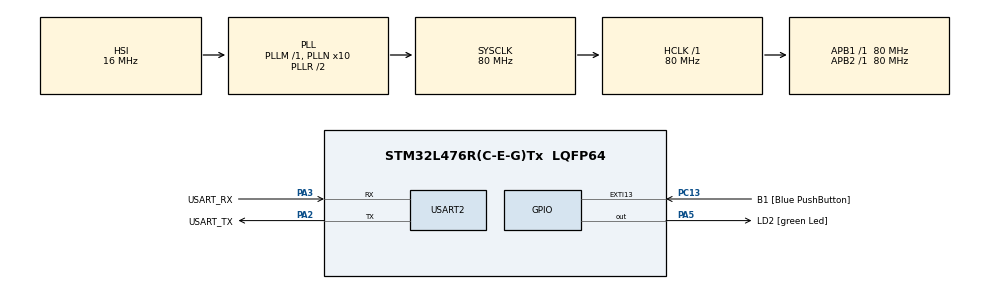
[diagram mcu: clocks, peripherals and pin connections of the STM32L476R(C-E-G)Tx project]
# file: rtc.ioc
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Mcu.Family=STM32L4
Mcu.Name=STM32L476R(C-E-G)Tx
Mcu.Package=LQFP64
NVIC.PriorityGroup=NVIC_PRIORITYGROUP_4
PA13\ (JTMS-SWDIO).GPIO_Label=TMS
PA13\ (JTMS-SWDIO).Mode=Serial_Wire
PA13\ (JTMS-SWDIO).Signal=SYS_JTMS-SWDIO
PA14\ (JTCK-SWCLK).GPIO_Label=TCK
PA14\ (JTCK-SWCLK).Mode=Serial_Wire
PA14\ (JTCK-SWCLK).Signal=SYS_JTCK-SWCLK
PA2.GPIO_Label=USART_TX
PA2.GPIO_Mode=GPIO_MODE_AF_PP
PA2.GPIO_PuPd=GPIO_NOPULL
PA2.GPIO_Speed=GPIO_SPEED_FREQ_VERY_HIGH
PA2.Mode=Asynchronous
PA2.Signal=USART2_TX
PA3.GPIO_Label=USART_RX
PA3.GPIO_Mode=GPIO_MODE_AF_PP
PA3.GPIO_PuPd=GPIO_NOPULL
PA3.GPIO_Speed=GPIO_SPEED_FREQ_VERY_HIGH
PA3.Mode=Asynchronous
PA3.Signal=USART2_RX
PA5.GPIO_Label=LD2 [green Led]
PA5.GPIO_ModeDefaultOutputPP=GPIO_MODE_OUTPUT_PP
PA5.GPIO_PuPd=GPIO_NOPULL
PA5.GPIO_Speed=GPIO_SPEED_FREQ_LOW
PA5.Signal=GPIO_Output
PB3\ (JTDO-TRACESWO).GPIO_Label=SWO
PB3\ (JTDO-TRACESWO).Signal=SYS_JTDO-SWO
PC13.GPIO_Label=B1 [Blue PushButton]
PC13.GPIO_ModeDefaultEXTI=GPIO_MODE_IT_FALLING
PC13.GPIO_PuPd=GPIO_NOPULL
PC13.Signal=GPXTI13
PC14-OSC32_IN\ (PC14).Mode=LSE-External-Oscillator
PC14-OSC32_IN\ (PC14).Signal=RCC_OSC32_IN
PC15-OSC32_OUT\ (PC15).Mode=LSE-External-Oscillator
PC15-OSC32_OUT\ (PC15).Signal=RCC_OSC32_OUT
PH0-OSC_IN\ (PH0).Signal=RCC_OSC_IN
PH1-OSC_OUT\ (PH1).Signal=RCC_OSC_OUT
ProjectManager.HeapSize=0x200
ProjectManager.StackSize=0x400
ProjectManager.TargetToolchain=CMake
RCC.ADCFreq_Value=64000000
RCC.AHBFreq_Value=80000000
RCC.APB1Freq_Value=80000000
RCC.APB1TimFreq_Value=80000000
RCC.APB2Freq_Value=80000000
RCC.APB2TimFreq_Value=80000000
RCC.CortexFreq_Value=80000000
RCC.HCLKFreq_Value=80000000
RCC.HSE_VALUE=8000000
RCC.HSI_VALUE=16000000
RCC.MSI_VALUE=4000000
RCC.PLLN=10
RCC.PLLSourceVirtual=RCC_PLLSOURCE_HSI
RCC.PREFETCH_ENABLE=1
RCC.RTCClockSelection=RCC_RTCCLKSOURCE_LSE
RCC.SYSCLKFreq_VALUE=80000000
RCC.SYSCLKSource=RCC_SYSCLKSOURCE_PLLCLK
RCC.USBFreq_Value=64000000
RCC.VCOOutputFreq_Value=160000000
USART2.VirtualMode-Asynchronous=VM_ASYNC
VP_RTC_VS_RTC_Activate.Mode=RTC_Enabled
VP_RTC_VS_RTC_Calendar.Mode=RTC_Calendar
board=NUCLEO-L476RG

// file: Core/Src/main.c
/* USER CODE BEGIN Header */
/**
 ******************************************************************************
 * @file           : main.c
 * @brief          : Main program body
 ******************************************************************************
 * @attention
 *
 * Copyright (c) 2026 STMicroelectronics.
 * All rights reserved.
 *
 * This software is licensed under terms that can be found in the LICENSE file
 * in the root directory of this software component.
 * If no LICENSE file comes with this software, it is provided AS-IS.
 *
 ******************************************************************************
 */
/* USER CODE END Header */
#include "main.h"
#include "button_task.h"
#include "cli_task.h"
#include "cmsis_os.h"
#include "datetime.h"
#include "datetime_poll.h"

RTC_HandleTypeDef hrtc;

UART_HandleTypeDef huart2;
osThreadId_t defaultTaskHandle;
const osThreadAttr_t defaultTask_attributes = {
    .name = "defaultTask",
    .stack_size = 128 * 4,
    .priority = (osPriority_t)osPriorityNormal,
};

osThreadId_t pollTaskHandle;
const osThreadAttr_t pollTask_attributes = {
    .name = "pollTask",
    .stack_size = 256 * 4,
    .priority = (osPriority_t)osPriorityNormal,
};

osThreadId_t cliTaskHandle;
const osThreadAttr_t cliTask_attributes = {
    .name = "cliTask",
    .stack_size = 512 * 4,
    .priority = (osPriority_t)osPriorityNormal,
};

void SystemClock_Config(void);
static void MX_GPIO_Init(void);
static void MX_RTC_Init(void);
static void MX_USART2_UART_Init(void);
void StartDefaultTask(void *argument);

int main(void)
{

    /* MCU
     * Configuration--------------------------------------------------------*/

    /* Reset of all peripherals, Initializes the Flash interface and the
     * Systick. */
    HAL_Init();

    /* Configure the system clock */
    SystemClock_Config();

    /* Initialize all configured peripherals */
    MX_GPIO_Init();
    MX_RTC_Init();
    MX_USART2_UART_Init();
    /* USER CODE BEGIN 2 */
    HAL_UART_Transmit(&huart2, (uint8_t *)"BOOT\r\n", 6, HAL_MAX_DELAY);
    /* USER CODE END 2 */

    /* Init scheduler */
    osKernelInitialize();

    /* USER CODE BEGIN RTOS_MUTEX */
    DateTime_Init();
    CliRx_Init();
    /* USER CODE END RTOS_MUTEX */

    /* USER CODE BEGIN RTOS_THREADS */
    defaultTaskHandle =
        osThreadNew(StartDefaultTask, NULL, &defaultTask_attributes);
    pollTaskHandle = osThreadNew(Task_DateTimePoll, NULL, &pollTask_attributes);
    cliTaskHandle = osThreadNew(Task_CLI, NULL, &cliTask_attributes);
    ButtonTask_Init();
    /* USER CODE END RTOS_THREADS */

    /* Start scheduler */
    osKernelStart();

    /* We should never get here as control is now taken by the scheduler */

    /* Infinite loop */
    while (1)
    {

    }
}

void SystemClock_Config(void)
{
    RCC_OscInitTypeDef RCC_OscInitStruct = {0};
    RCC_ClkInitTypeDef RCC_ClkInitStruct = {0};

    /** Configure the main internal regulator output voltage
     */
    if (HAL_PWREx_ControlVoltageScaling(PWR_REGULATOR_VOLTAGE_SCALE1) != HAL_OK)
    {
        Error_Handler();
    }

    /** Configure LSE Drive Capability
     */
    HAL_PWR_EnableBkUpAccess();
    __HAL_RCC_LSEDRIVE_CONFIG(RCC_LSEDRIVE_LOW);

    /** Initializes the RCC Oscillators according to the specified parameters
     * in the RCC_OscInitTypeDef structure.
     */
    RCC_OscInitStruct.OscillatorType =
        RCC_OSCILLATORTYPE_HSI | RCC_OSCILLATORTYPE_LSE;
    RCC_OscInitStruct.LSEState = RCC_LSE_ON;
    RCC_OscInitStruct.HSIState = RCC_HSI_ON;
    RCC_OscInitStruct.HSICalibrationValue = RCC_HSICALIBRATION_DEFAULT;
    RCC_OscInitStruct.PLL.PLLState = RCC_PLL_ON;
    RCC_OscInitStruct.PLL.PLLSource = RCC_PLLSOURCE_HSI;
    RCC_OscInitStruct.PLL.PLLM = 1;
    RCC_OscInitStruct.PLL.PLLN = 10;
    RCC_OscInitStruct.PLL.PLLP = RCC_PLLP_DIV7;
    RCC_OscInitStruct.PLL.PLLQ = RCC_PLLQ_DIV2;
    RCC_OscInitStruct.PLL.PLLR = RCC_PLLR_DIV2;
    if (HAL_RCC_OscConfig(&RCC_OscInitStruct) != HAL_OK)
    {
        Error_Handler();
    }

    /** Initializes the CPU, AHB and APB buses clocks
     */
    RCC_ClkInitStruct.ClockType = RCC_CLOCKTYPE_HCLK | RCC_CLOCKTYPE_SYSCLK |
                                  RCC_CLOCKTYPE_PCLK1 | RCC_CLOCKTYPE_PCLK2;
    RCC_ClkInitStruct.SYSCLKSource = RCC_SYSCLKSOURCE_PLLCLK;
    RCC_ClkInitStruct.AHBCLKDivider = RCC_SYSCLK_DIV1;
    RCC_ClkInitStruct.APB1CLKDivider = RCC_HCLK_DIV1;
    RCC_ClkInitStruct.APB2CLKDivider = RCC_HCLK_DIV1;

    if (HAL_RCC_ClockConfig(&RCC_ClkInitStruct, FLASH_LATENCY_4) != HAL_OK)
    {
        Error_Handler();
    }
}

static void MX_RTC_Init(void)
{

    RTC_TimeTypeDef sTime = {0};
    RTC_DateTypeDef sDate = {0};

    /** Initialize RTC Only
     */
    hrtc.Instance = RTC;
    hrtc.Init.HourFormat = RTC_HOURFORMAT_24;
    hrtc.Init.AsynchPrediv = 127;
    hrtc.Init.SynchPrediv = 255;
    hrtc.Init.OutPut = RTC_OUTPUT_DISABLE;
    hrtc.Init.OutPutRemap = RTC_OUTPUT_REMAP_NONE;
    hrtc.Init.OutPutPolarity = RTC_OUTPUT_POLARITY_HIGH;
    hrtc.Init.OutPutType = RTC_OUTPUT_TYPE_OPENDRAIN;
    if (HAL_RTC_Init(&hrtc) != HAL_OK)
    {
        Error_Handler();
    }

    /** Initialize RTC and set the Time and Date
     */
    sTime.Hours = 0x0;
    sTime.Minutes = 0x0;
    sTime.Seconds = 0x0;
    sTime.DayLightSaving = RTC_DAYLIGHTSAVING_NONE;
    sTime.StoreOperation = RTC_STOREOPERATION_RESET;
    if (HAL_RTC_SetTime(&hrtc, &sTime, RTC_FORMAT_BCD) != HAL_OK)
    {
        Error_Handler();
    }
    sDate.WeekDay = RTC_WEEKDAY_MONDAY;
    sDate.Month = RTC_MONTH_JANUARY;
    sDate.Date = 0x1;
    sDate.Year = 0x0;

    if (HAL_RTC_SetDate(&hrtc, &sDate, RTC_FORMAT_BCD) != HAL_OK)
    {
        Error_Handler();
    }
}

static void MX_USART2_UART_Init(void)
{

    huart2.Instance = USART2;
    huart2.Init.BaudRate = 115200;
    huart2.Init.WordLength = UART_WORDLENGTH_8B;
    huart2.Init.StopBits = UART_STOPBITS_1;
    huart2.Init.Parity = UART_PARITY_NONE;
    huart2.Init.Mode = UART_MODE_TX_RX;
    huart2.Init.HwFlowCtl = UART_HWCONTROL_NONE;
    huart2.Init.OverSampling = UART_OVERSAMPLING_16;
    huart2.Init.OneBitSampling = UART_ONE_BIT_SAMPLE_DISABLE;
    huart2.AdvancedInit.AdvFeatureInit = UART_ADVFEATURE_NO_INIT;
    if (HAL_UART_Init(&huart2) != HAL_OK)
    {
        Error_Handler();
    }
    /* USER CODE BEGIN USART2_Init 2 */
    HAL_NVIC_SetPriority(USART2_IRQn, 5, 0);
    HAL_NVIC_EnableIRQ(USART2_IRQn);
    /* USER CODE END USART2_Init 2 */
}

static void MX_GPIO_Init(void)
{
    GPIO_InitTypeDef GPIO_InitStruct = {0};

    /* GPIO Ports Clock Enable */
    __HAL_RCC_GPIOC_CLK_ENABLE();
    __HAL_RCC_GPIOH_CLK_ENABLE();
    __HAL_RCC_GPIOA_CLK_ENABLE();
    __HAL_RCC_GPIOB_CLK_ENABLE();

    /*Configure GPIO pin Output Level */
    HAL_GPIO_WritePin(LD2_GPIO_Port, LD2_Pin, GPIO_PIN_RESET);

    /*Configure GPIO pin : B1_Pin */
    GPIO_InitStruct.Pin = B1_Pin;
    GPIO_InitStruct.Mode = GPIO_MODE_IT_FALLING;
    GPIO_InitStruct.Pull = GPIO_NOPULL;
    HAL_GPIO_Init(B1_GPIO_Port, &GPIO_InitStruct);

    /*Configure GPIO pin : LD2_Pin */
    GPIO_InitStruct.Pin = LD2_Pin;
    GPIO_InitStruct.Mode = GPIO_MODE_OUTPUT_PP;
    GPIO_InitStruct.Pull = GPIO_NOPULL;
    GPIO_InitStruct.Speed = GPIO_SPEED_FREQ_LOW;
    HAL_GPIO_Init(LD2_GPIO_Port, &GPIO_InitStruct);

    /* USER CODE BEGIN MX_GPIO_Init_2 */
    HAL_NVIC_SetPriority(EXTI15_10_IRQn, 5, 0);
    HAL_NVIC_EnableIRQ(EXTI15_10_IRQn);
    /* USER CODE END MX_GPIO_Init_2 */
}

/* USER CODE BEGIN 4 */

/**
 * @brief  Function implementing the defaultTask thread.
 * @param  argument: Not used
 * @retval None
 */
void StartDefaultTask(void *argument)
{
    (void)argument;

    for (;;)
    {
        osDelay(1);
    }
}

/* USER CODE END 4 */

void Error_Handler(void)
{
    /* USER CODE BEGIN Error_Handler_Debug */
    /* User can add his own implementation to report the HAL error return state
     */
    __disable_irq();
    while (1)
    {
    }
    /* USER CODE END Error_Handler_Debug */
}
#ifdef USE_FULL_ASSERT
/**
 * @brief  Reports the name of the source file and the source line number
 *         where the assert_param error has occurred.
 * @param  file: pointer to the source file name
 * @param  line: assert_param error line source number
 * @retval None
 */
void assert_failed(uint8_t *file, uint32_t line)
{
    /* USER CODE BEGIN 6 */
    /* User can add his own implementation to report the file name and line
       number, ex: printf("Wrong parameters value: file %s on line %d\r\n",
       file, line) */
    /* USER CODE END 6 */
}
#endif /* USE_FULL_ASSERT */
